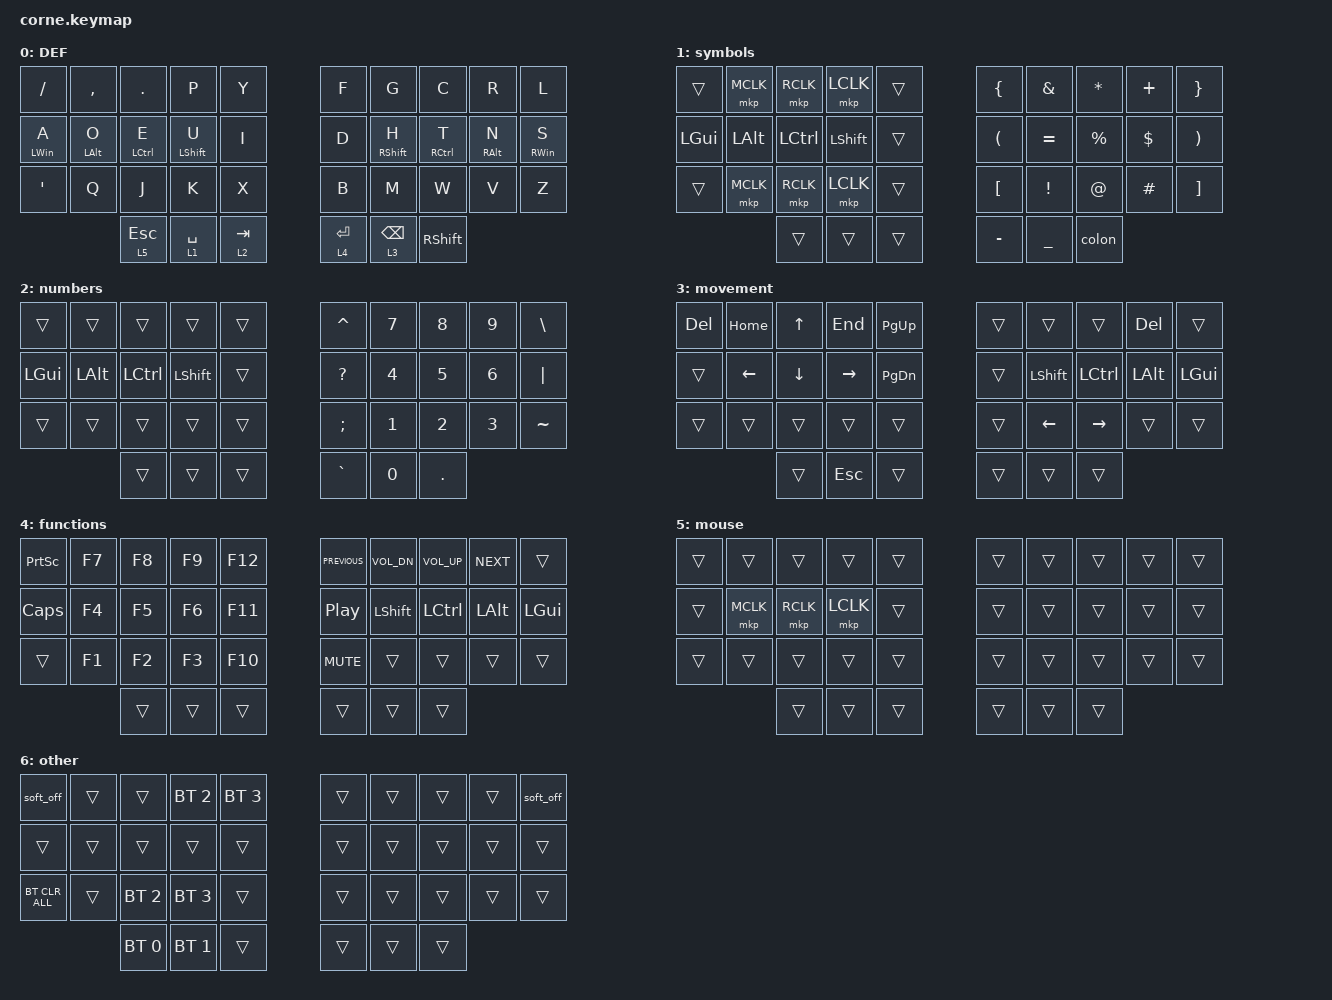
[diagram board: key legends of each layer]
/*
 * Copyright (c) 2020 The ZMK Contributors
 *
 * SPDX-License-Identifier: MIT
 */

#include <behaviors.dtsi>
#include <dt-bindings/zmk/bt.h>
#include <dt-bindings/zmk/keys.h>
#include <dt-bindings/zmk/mouse.h>

#define DEFAULT_L 0

/ {
    chosen { zmk,matrix_transform = &five_column_transform; };

    combos {
        compatible = "zmk,combos";

        other {
            bindings = <&mo 6>;
            key-positions = <34 35>;
        };

        lctrl {
            bindings = <&kp LCTRL>;
            key-positions = <12 13>;
        };

        lalt {
            bindings = <&kp LEFT_ALT>;
            key-positions = <11 12>;
        };

        lwin {
            bindings = <&kp LEFT_WIN>;
            key-positions = <10 11>;
        };

        rother {
            bindings = <&mo 6>;
            key-positions = <30 31>;
        };
    };

    behaviors {
        colon: colon {
            compatible = "zmk,behavior-mod-morph";
            label = "COLON";
            bindings = <&kp COLON>, <&kp SEMI>;

            #binding-cells = <0>;
            mods = <(MOD_LSFT)>;
        };

        l_home_mod: l_home_mod {
            compatible = "zmk,behavior-hold-tap";
            label = "L_HOME_MOD";
            bindings = <&kp>, <&kp>;

            #binding-cells = <2>;
            tapping-term-ms = <280>;
            flavor = "balanced";
            quick-tap-ms = <175>;
            hold-trigger-key-positions = <5 6 7 8 9 15 16 18 19 25 26 27 28 29 17 33 34 35 32>;
            require-prior-idle-ms = <150>;
            hold-trigger-on-release;
        };

        r_home_mod: r_home_mod {
            compatible = "zmk,behavior-hold-tap";
            label = "R_HOME_MOD";
            bindings = <&kp>, <&kp>;

            #binding-cells = <2>;
            tapping-term-ms = <280>;
            flavor = "balanced";
            quick-tap-ms = <175>;
            hold-trigger-key-positions = <0 4 10 11 12 13 14 20 21 22 23 24 30 31 32 3 2 1>;
            hold-trigger-on-release;
            require-prior-idle-ms = <150>;
        };
    };

    keymap {
        compatible = "zmk,keymap";

        default_layer {
            label = "DEF";
            bindings = <
  &kp SLASH               &kp COMMA               &kp PERIOD           &kp P                     &kp Y        &kp F        &kp G                      &kp C                &kp R                    &kp L
  &l_home_mod LEFT_WIN A  &l_home_mod LEFT_ALT O  &l_home_mod LCTRL E  &l_home_mod LEFT_SHIFT U  &kp I        &kp D        &r_home_mod RIGHT_SHIFT H  &r_home_mod RCTRL T  &r_home_mod RIGHT_ALT N  &r_home_mod RIGHT_WIN S
  &kp SQT                 &kp Q                   &kp J                &kp K                     &kp X        &kp B        &kp M                      &kp W                &kp V                    &kp Z
                                                  &lt 5 ESC            &lt 1 SPACE               &lt 2 TAB    &lt 4 ENTER  &lt 3 BACKSPACE            &kp RIGHT_SHIFT
            >;
        };

        symbols {
            bindings = <
  &trans    &mkp MCLK  &mkp RCLK  &mkp LCLK  &trans    &kp LEFT_BRACE        &kp AMPERSAND  &kp ASTERISK  &kp PLUS    &kp RIGHT_BRACE
  &kp LGUI  &kp LALT   &kp LCTRL  &kp LSHFT  &trans    &kp LEFT_PARENTHESIS  &kp EQUAL      &kp PERCENT   &kp DOLLAR  &kp RIGHT_PARENTHESIS
  &trans    &mkp MCLK  &mkp RCLK  &mkp LCLK  &trans    &kp LEFT_BRACKET      &kp EXCL       &kp AT        &kp HASH    &kp RIGHT_BRACKET
                       &trans     &trans     &trans    &kp MINUS             &kp UNDER      &colon
            >;
        };

        numbers {
            bindings = <
  &trans    &trans    &trans     &trans     &trans    &kp CARET      &kp N7        &kp N8        &kp N9        &kp BACKSLASH
  &kp LGUI  &kp LALT  &kp LCTRL  &kp LSHFT  &trans    &kp QUESTION   &kp NUMBER_4  &kp N5        &kp NUMBER_6  &kp PIPE
  &trans    &trans    &trans     &trans     &trans    &kp SEMICOLON  &kp NUMBER_1  &kp NUMBER_2  &kp NUMBER_3  &kp TILDE
                      &trans     &trans     &trans    &kp GRAVE      &kp N0        &kp PERIOD
            >;
        };

        movement {
            bindings = <
  &kp DELETE  &kp HOME        &kp UP_ARROW  &kp END    &kp PAGE_UP      &trans  &trans     &trans     &kp DEL   &trans
  &trans      &kp LEFT_ARROW  &kp DOWN      &kp RIGHT  &kp PAGE_DOWN    &trans  &kp LSHFT  &kp LCTRL  &kp LALT  &kp LGUI
  &trans      &trans          &trans        &trans     &trans           &trans  &kp LEFT   &kp RIGHT  &trans    &trans
                              &trans        &kp ESC    &trans           &trans  &trans     &trans
            >;
        };

        functions {
            bindings = <
  &kp PRINTSCREEN  &kp F7  &kp F8  &kp F9  &kp F12    &kp C_PREVIOUS    &kp C_VOL_DN  &kp C_VOL_UP  &kp C_NEXT  &trans
  &kp CAPS         &kp F4  &kp F5  &kp F6  &kp F11    &kp C_PLAY_PAUSE  &kp LSHFT     &kp LCTRL     &kp LALT    &kp LGUI
  &trans           &kp F1  &kp F2  &kp F3  &kp F10    &kp C_MUTE        &trans        &trans        &trans      &trans
                           &trans  &trans  &trans     &trans            &trans        &trans
            >;
        };

        mouse {
            bindings = <
  &trans  &trans     &trans     &trans     &trans    &trans  &trans  &trans  &trans  &trans
  &trans  &mkp MCLK  &mkp RCLK  &mkp LCLK  &trans    &trans  &trans  &trans  &trans  &trans
  &trans  &trans     &trans     &trans     &trans    &trans  &trans  &trans  &trans  &trans
                     &trans     &trans     &trans    &trans  &trans  &trans
            >;
        };

        other {
            bindings = <
  &soft_off       &trans  &trans        &bt BT_SEL 2  &bt BT_SEL 3    &trans  &trans  &trans  &trans  &soft_off
  &trans          &trans  &trans        &trans        &trans          &trans  &trans  &trans  &trans  &trans
  &bt BT_CLR_ALL  &trans  &bt BT_SEL 2  &bt BT_SEL 3  &trans          &trans  &trans  &trans  &trans  &trans
                          &bt BT_SEL 0  &bt BT_SEL 1  &trans          &trans  &trans  &trans
            >;
        };
    };
};
